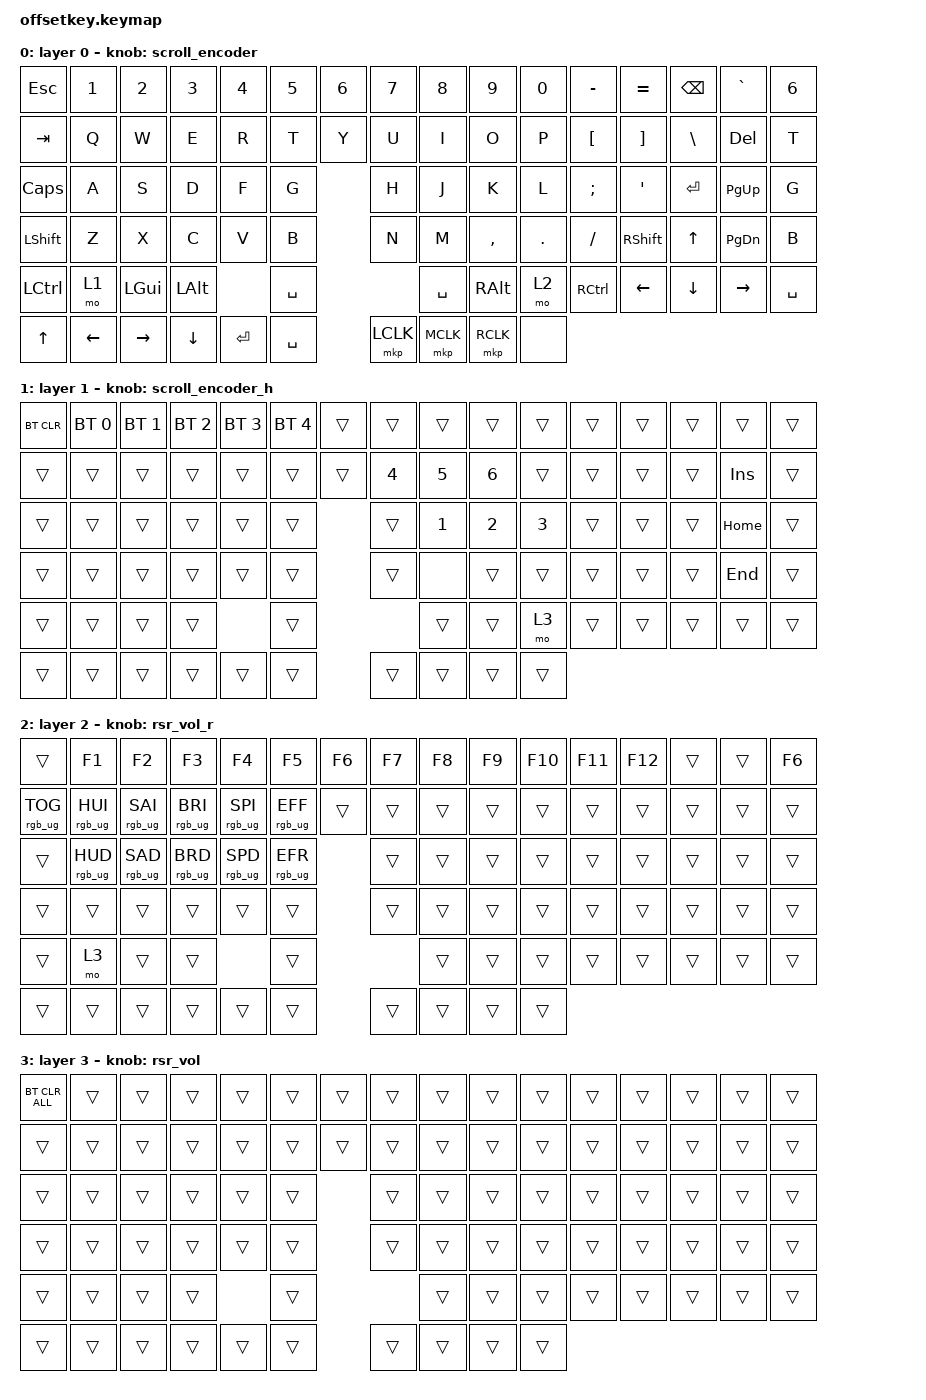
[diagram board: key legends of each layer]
#define BASE 0
#define LOWER 1
#define MOUSE_KEYS 2
#define MOUSE_TP 3
#define MOUSE_TP_SET 4

#include <zephyr/dt-bindings/input/input-event-codes.h>
#include <dt-bindings/zmk/rgb.h>
#include <dt-bindings/zmk/outputs.h>
#include <input/processors.dtsi>
#include <behaviors.dtsi>
#include <dt-bindings/zmk/bt.h>
#include <dt-bindings/zmk/keys.h>
#include <dt-bindings/zmk/pointing.h>
#include <behaviors/runtime-sensor-rotate.dtsi>
#include <behaviors/runtime_macro.dtsi>


&mmv_input_listener { input-processors = <&zip_xy_scaler 2 1>; };

&msc_input_listener { input-processors = <&zip_scroll_scaler 2 1>; };

&msc {
    acceleration-exponent = <1>;      // 0
    time-to-max-speed-ms = <100>;       // 300
    delay-ms = <0>;                   // 0
};

&mmv {
    time-to-max-speed-ms = <500>;
    acceleration-exponent = <1>;
    trigger-period-ms = <16>;
};


/ {
    scroll_encoder: scroll_encoder {
        compatible = "zmk,behavior-sensor-rotate";
        #sensor-binding-cells = <0>;
        bindings = <&msc SCRL_DOWN>, <&msc SCRL_UP>;

        tap-ms = <100>;
    };

    scroll_encoder_h: scroll_encoder_h {
        compatible = "zmk,behavior-sensor-rotate";
        #sensor-binding-cells = <0>;
        bindings = <&msc SCRL_RIGHT>, <&msc SCRL_LEFT>;

        tap-ms = <100>;
    };

    behaviors {
        rsr_vol: rsr_vol {
            compatible = "zmk,behavior-runtime-sensor-rotate";
            #sensor-binding-cells = <0>;
            tap-ms = <5>;
            cw-binding = <&kp C_VOL_DN>;
            ccw-binding = <&kp C_VOL_UP>;
        };

        rsr_vol_r: rsr_vol_r {
            compatible = "zmk,behavior-runtime-sensor-rotate";
            #sensor-binding-cells = <0>;
            tap-ms = <5>;
            cw-binding = <&kp C_VOL_UP>;
            ccw-binding = <&kp C_VOL_DN>;
        };

        ltq: ltq {
            compatible = "zmk,behavior-hold-tap";
            label = "LTQ";
            bindings = <&mo>, <&kp>;

            #binding-cells = <2>;
            tapping-term-ms = <200>;
            quick-tap-ms = <180>;
        };
    };

    combos {
        compatible = "zmk,combos";

        flash {
            bindings = <&bootloader>;
            key-positions = <0 11>;
        };
    };

    keymap {
        compatible = "zmk,keymap";

        BASE {
            bindings = <
 &kp ESC       &kp N1          &kp N2           &kp N3          &kp N4     &kp N5     &kp N6      &kp N7     &kp N8     &kp N9         &kp N0   &kp MINUS  &kp EQUAL  &kp BSPC      &kp GRAVE                        &kp NUMBER_6
 &kp TAB       &kp Q           &kp W            &kp E           &kp R      &kp T                  &kp Y      &kp U      &kp I          &kp O    &kp P      &kp LBKT   &kp RBKT      &kp BSLH         &kp DEL         &kp T
 &kp CAPS      &kp A           &kp S            &kp D           &kp F      &kp G                  &kp H      &kp J      &kp K          &kp L    &kp SEMI   &kp APOS   &kp ENTER     &kp PG_UP                        &kp G
 &kp LSHFT     &kp Z           &kp X            &kp C           &kp V      &kp B                  &kp N      &kp M      &kp COMMA      &kp DOT  &kp FSLH   &kp RSHFT  &kp UP_ARROW  &kp PG_DN                        &kp B
 &kp LCTRL     &mo 1           &kp LEFT_GUI     &kp LEFT_ALT               &kp SPACE                         &kp SPACE  &kp RIGHT_ALT  &mo 2    &kp RCTRL  &kp LEFT   &kp DOWN      &kp RIGHT                        &kp SPACE
 &kp UP_ARROW  &kp LEFT_ARROW  &kp RIGHT_ARROW  &kp DOWN_ARROW  &kp ENTER  &kp SPACE              &mkp LCLK  &mkp MCLK  &mkp RCLK      &none
            >;

            label = "layer 0";
            sensor-bindings = <&scroll_encoder>;
        };

        layer_1 {
            bindings = <
 &bt BT_CLR  &bt BT_SEL 0  &bt BT_SEL 1  &bt BT_SEL 2  &bt BT_SEL 3  &bt BT_SEL 4  &trans      &trans  &trans        &trans        &trans        &trans  &trans  &trans  &trans                &trans
 &trans      &trans        &trans        &trans        &trans        &trans                    &trans  &kp NUMBER_4  &kp NUMBER_5  &kp NUMBER_6  &trans  &trans  &trans  &trans    &kp INSERT  &trans
 &trans      &trans        &trans        &trans        &trans        &trans                    &trans  &kp NUMBER_1  &kp NUMBER_2  &kp NUMBER_3  &trans  &trans  &trans  &kp HOME              &trans
 &trans      &trans        &trans        &trans        &trans        &trans                    &trans  &none         &trans        &trans        &trans  &trans  &trans  &kp END               &trans
 &trans      &trans        &trans        &trans                      &trans                            &trans        &trans        &mo 3         &trans  &trans  &trans  &trans                &trans
 &trans      &trans        &trans        &trans        &trans        &trans                    &trans  &trans        &trans        &trans
            >;

            label = "layer 1";
            sensor-bindings = <&scroll_encoder_h>;
        };

        layer_2 {
            bindings = <
 &trans           &kp F1           &kp F2           &kp F3           &kp F4           &kp F5           &kp F6      &kp F7  &kp F8  &kp F9  &kp F10  &kp F11  &kp F12  &trans  &trans          &kp F6
 &rgb_ug RGB_TOG  &rgb_ug RGB_HUI  &rgb_ug RGB_SAI  &rgb_ug RGB_BRI  &rgb_ug RGB_SPI  &rgb_ug RGB_EFF              &trans  &trans  &trans  &trans   &trans   &trans   &trans  &trans  &trans  &trans
 &trans           &rgb_ug RGB_HUD  &rgb_ug RGB_SAD  &rgb_ug RGB_BRD  &rgb_ug RGB_SPD  &rgb_ug RGB_EFR              &trans  &trans  &trans  &trans   &trans   &trans   &trans  &trans          &trans
 &trans           &trans           &trans           &trans           &trans           &trans                       &trans  &trans  &trans  &trans   &trans   &trans   &trans  &trans          &trans
 &trans           &mo 3            &trans           &trans                            &trans                               &trans  &trans  &trans   &trans   &trans   &trans  &trans          &trans
 &trans           &trans           &trans           &trans           &trans           &trans                       &trans  &trans  &trans  &trans
            >;

            label = "layer 2";
            sensor-bindings = <&rsr_vol_r>;
        };

        layer_3 {
            bindings = <
 &bt BT_CLR_ALL  &trans  &trans  &trans  &trans  &trans  &trans      &trans  &trans  &trans  &trans  &trans  &trans  &trans  &trans          &trans
 &trans          &trans  &trans  &trans  &trans  &trans              &trans  &trans  &trans  &trans  &trans  &trans  &trans  &trans  &trans  &trans
 &trans          &trans  &trans  &trans  &trans  &trans              &trans  &trans  &trans  &trans  &trans  &trans  &trans  &trans          &trans
 &trans          &trans  &trans  &trans  &trans  &trans              &trans  &trans  &trans  &trans  &trans  &trans  &trans  &trans          &trans
 &trans          &trans  &trans  &trans          &trans                      &trans  &trans  &trans  &trans  &trans  &trans  &trans          &trans
 &trans          &trans  &trans  &trans  &trans  &trans              &trans  &trans  &trans  &trans
            >;

            label = "layer 3";
            sensor-bindings = <&rsr_vol>;
        };
    };
};
